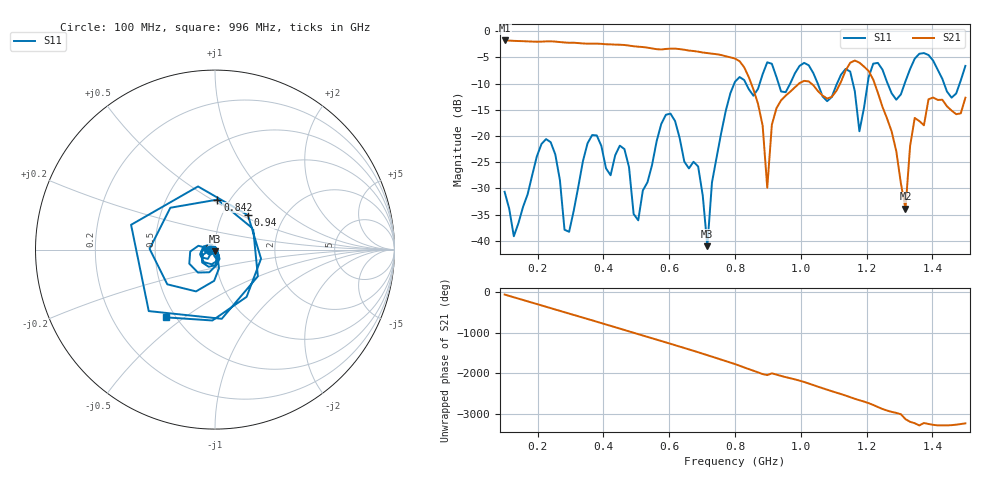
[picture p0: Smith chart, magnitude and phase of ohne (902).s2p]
! NanoVNA-App
! Date: 2025-09-25 14:27:49
! Start: 100MHz Stop: 1,5GHz Points: 101
! S-Parameter data: F S11 S21 S12 S22
# Hz S RI R 50
!  Frequency  S11_Real  S11_Imag  S21_Real  S21_Imag  S12_Real  S12_Imag  S22_Real  S22_Imag
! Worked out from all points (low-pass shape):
!   101 points, 100 MHz to 1.5 GHz, reference 50 ohm
!   highest |S21| = -1.79 dB at 100 MHz (marker M1); lowest = -33.9 dB at 1.318 GHz (marker M2)
!   |S21| within 3 dB of the highest: start of sweep to 771.3 MHz
!   lowest |S11| = -41.0 dB at 716 MHz (marker M3), VSWR 1.02, Z = 49.7 - j0.849 ohm
!   |S11| at or under -10 dB: start of sweep to 797.8 MHz; 833.3 MHz to 875.1 MHz (41.84 MHz wide, 4.9 % of centre); 1.051 GHz to 1.11 GHz (58.73 MHz wide, 5.43 % of centre) (the widest 3 of 7)
!   S12 and S22 are empty: the file has one direction only
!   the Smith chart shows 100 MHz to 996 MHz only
!   S11 on the Smith chart (normalised r, x): 100 MHz: 0.94, -0.01; 842 MHz: 0.88, +0.53; 940 MHz: 1.32, +0.55; 996 MHz: 0.45, -0.43
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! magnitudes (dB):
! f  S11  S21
! 100 MHz  -30.6  -1.8
! 128 MHz  -39.1  -1.9
! 226 MHz  -20.6  -2.0
! 296 MHz  -38.3  -2.2
! 338 MHz  -24.8  -2.4
! 464 MHz  -22.5  -2.7
! 506 MHz  -36.1  -3.0
! 576 MHz  -17.7  -3.5
! 688 MHz  -25.8  -3.9
! 716 MHz  -41.0  -4.2
! 800 MHz  -9.7  -5.2
! 842 MHz  -11.1  -8.8
! 898 MHz  -6.0  -29.9
! 940 MHz  -11.5  -13.2
! 996 MHz  -6.6  -9.9
! 1.038 GHz  -8.0  -10.3
! 1.178 GHz  -19.1  -6.0
! 1.22 GHz  -6.2  -9.2
! 1.276 GHz  -11.9  -19.1
! 1.318 GHz  -9.6  -33.9
! 1.346 GHz  -5.3  -16.6
! 1.5 GHz  -6.6  -12.7
